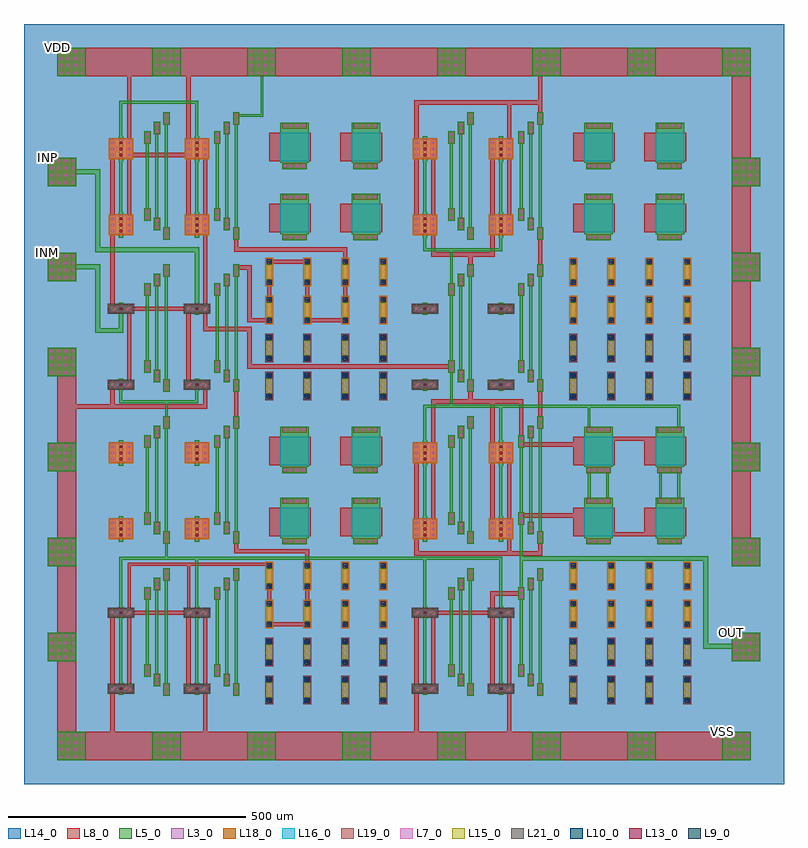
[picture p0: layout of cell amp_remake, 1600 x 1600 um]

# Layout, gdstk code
from math import pi, radians
import gdstk
lib = gdstk.Library(unit=1e-6, precision=1e-09)
def R(c, l, rs):  # rectangles x0, y0, x1, y1
    for r in rs: c.add(gdstk.rectangle(r[:2], r[2:], *l))
L3_0 = (3, 0)
L5_0 = (5, 0)
L7_0 = (7, 0)
L8_0 = (8, 0)
L9_0 = (9, 0)
L10_0 = (10, 0)
L13_0 = (13, 0)
L14_0 = (14, 0)
L15_0 = (15, 0)
L16_0 = (16, 0)
L18_0 = (18, 0)
L19_0 = (19, 0)
L21_0 = (21, 0)

c_16_5x5_flame = lib.new_cell('16_5x5_flame')
R(c_16_5x5_flame, L14_0, [(-800,-800,800,800), (-750,-750,750,750)])

dcont = lib.new_cell('dcont')
R(dcont, L3_0, [(-6.5,-6.5,6.5,6.5)])
R(dcont, L7_0, [(-2.5,-2.5,2.5,2.5)])
R(dcont, L8_0, [(-6.5,-6.5,6.5,6.5)])

pcont_min = lib.new_cell('pcont_min')
R(pcont_min, L5_0, [(-4.5,-6.5,4.5,6.5)])
R(pcont_min, L7_0, [(-2.5,-2.5,2.5,2.5)])
R(pcont_min, L8_0, [(-4.5,-6.5,4.5,6.5)])
R(pcont_min, L13_0, [(-2.5,-2.5,2.5,2.5)])

pch_1 = lib.new_cell('Pch$1')
R(pch_1, L3_0, [(0,17,48,57)])
R(pch_1, L18_0, [(-2,15,50,59)])
pch_1.add(gdstk.FlexPath([(6.5,17),(6.5,57)], 13, ends="flush", simple_path=True, layer=8, datatype=0))  # L8_0
pch_1.add(gdstk.FlexPath([(41.5,17),(41.5,57)], 13, ends="flush", simple_path=True, layer=8, datatype=0))  # L8_0
pch_1.add(gdstk.FlexPath([(24,17),(24,57)], 10, ends=(6.5, 6.5), simple_path=True, layer=5, datatype=0))  # L5_0
pch_1.add(gdstk.Reference(dcont, (6.5,24)))
pch_1.add(gdstk.Reference(dcont, (6.5,37)))
pch_1.add(gdstk.Reference(dcont, (6.5,50)))
pch_1.add(gdstk.Reference(dcont, (41.5,24)))
pch_1.add(gdstk.Reference(dcont, (41.5,37)))
pch_1.add(gdstk.Reference(dcont, (41.5,50)))
pch_1.add(gdstk.Reference(pcont_min, (24,24)))
pch_1.add(gdstk.Reference(pcont_min, (24,37)))
pch_1.add(gdstk.Reference(pcont_min, (24,50)))

tin_m1 = lib.new_cell('tin_M1')
R(tin_m1, L5_0, [(-7,-7,6,6)])
R(tin_m1, L7_0, [(-3,-3,2,2)])
R(tin_m1, L8_0, [(-7,-7,6,6)])

v_tin_line3 = lib.new_cell('V_tin_line3')
v_tin_line3.add(gdstk.FlexPath([(-20.5,74),(-20.5,-74)], 6, ends="extended", simple_path=True, layer=5, datatype=0))  # L5_0
v_tin_line3.add(gdstk.FlexPath([(-0.5,94),(-0.5,-94)], 6, ends="extended", simple_path=True, layer=5, datatype=0))  # L5_0
v_tin_line3.add(gdstk.FlexPath([(19.5,114),(19.5,-114)], 6, ends="extended", simple_path=True, layer=5, datatype=0))  # L5_0
r = gdstk.Reference(tin_m1, (-20.5,74), rotation=pi); r.repetition = gdstk.Repetition(2, 3, v1=(0,13), v2=(20,20)); v_tin_line3.add(r)
r = gdstk.Reference(tin_m1, (-20.5,-88), rotation=pi); r.repetition = gdstk.Repetition(2, 3, v1=(0,13), v2=(20,-20)); v_tin_line3.add(r)

pmos_array = lib.new_cell('pmos_array')
R(pmos_array, L14_0, [(-160,-160,160,160)])
r = gdstk.Reference(pch_1, (-140,-140)); r.repetition = gdstk.Repetition(2, 2, v1=(160,0), v2=(0,160)); pmos_array.add(r)
pmos_array.add(gdstk.Reference(v_tin_line3, (-40,0)))
pmos_array.add(gdstk.Reference(v_tin_line3, (107,0)))

nch_1 = lib.new_cell('Nch$1')
R(nch_1, L3_0, [(0,18.5,48,28.5)])
R(nch_1, L19_0, [(-2,15,50,32)])
R(nch_1, L21_0, [(-4,13,52,34)])
nch_1.add(gdstk.FlexPath([(6.5,17),(6.5,30)], 13, ends="flush", simple_path=True, layer=8, datatype=0))  # L8_0
nch_1.add(gdstk.FlexPath([(41.5,17),(41.5,30)], 13, ends="flush", simple_path=True, layer=8, datatype=0))  # L8_0
nch_1.add(gdstk.FlexPath([(24,17),(24,30)], 10, ends=(6.5, 6.5), simple_path=True, layer=5, datatype=0))  # L5_0
nch_1.add(gdstk.Reference(dcont, (6.5,23.5)))
nch_1.add(gdstk.Reference(dcont, (41.5,23.5)))
nch_1.add(gdstk.Reference(pcont_min, (24,23.5)))

nmos_array = lib.new_cell('nmos_array')
R(nmos_array, L14_0, [(-160,-160,160,160)])
r = gdstk.Reference(nch_1, (-140,-143)); r.repetition = gdstk.Repetition(2, 2, v1=(160,0), v2=(0,160)); nmos_array.add(r)
nmos_array.add(gdstk.Reference(v_tin_line3, (-40,0)))
nmos_array.add(gdstk.Reference(v_tin_line3, (107,0)))

via = lib.new_cell('Via')
R(via, L8_0, [(-6.5,-6.5,6.5,6.5)])
R(via, L9_0, [(-2.5,-2.5,2.5,2.5)])
R(via, L10_0, [(-5,-5,5,5)])
R(via, L13_0, [(-2.5,-2.5,2.5,2.5)])

r_ndiff = lib.new_cell('R_ndiff')
R(r_ndiff, L19_0, [(-2,-2,15,58)])
r_ndiff.add(gdstk.FlexPath([(6.5,0),(6.5,56)], 10, ends="flush", simple_path=True, layer=3, datatype=0))  # L3_0
r_ndiff.add(gdstk.FlexPath([(6.5,13),(6.5,43)], 10, ends="flush", simple_path=True, layer=15, datatype=0))  # L15_0
r_ndiff.add(gdstk.Reference(dcont, (6.5,6.5), rotation=pi/2))
r_ndiff.add(gdstk.Reference(via, (6.5,6.5)))
r_ndiff.add(gdstk.Reference(dcont, (6.5,49.5), rotation=pi/2))
r_ndiff.add(gdstk.Reference(via, (6.5,49.5)))

r_pdiff_1 = lib.new_cell('R_pdiff$1')
R(r_pdiff_1, L18_0, [(-2,-2,15,58)])
r_pdiff_1.add(gdstk.FlexPath([(6.5,0),(6.5,56)], 10, ends="flush", simple_path=True, layer=3, datatype=0))  # L3_0
r_pdiff_1.add(gdstk.FlexPath([(6.5,13),(6.5,43)], 10, ends="flush", simple_path=True, layer=15, datatype=0))  # L15_0
r_pdiff_1.add(gdstk.Reference(dcont, (6.5,6.5), rotation=pi/2))
r_pdiff_1.add(gdstk.Reference(via, (6.5,6.5)))
r_pdiff_1.add(gdstk.Reference(dcont, (6.5,49.5), rotation=pi/2))
r_pdiff_1.add(gdstk.Reference(via, (6.5,49.5)))

resistor_array = lib.new_cell('resistor_array')
R(resistor_array, L14_0, [(-160,-160,160,160)])
r = gdstk.Reference(r_ndiff, (-130,-150)); r.repetition = gdstk.Repetition(4, 2, v1=(80,0), v2=(0,80)); resistor_array.add(r)
r = gdstk.Reference(r_pdiff_1, (-130,10)); r.repetition = gdstk.Repetition(4, 2, v1=(80,0), v2=(0,80)); resistor_array.add(r)

tin_cap = lib.new_cell('TIN_cap')
R(tin_cap, L5_0, [(23.5,-4,83.5,81)])
R(tin_cap, L8_0, [(0,0,87.5,60)])
R(tin_cap, L16_0, [(23.5,0,83.5,60)])

cap_con = lib.new_cell('cap_con')
cap_con.add(gdstk.Reference(tin_cap, (-43.75,-38.5)))
r = gdstk.Reference(tin_m1, (28.25,35.5), rotation=pi); r.repetition = gdstk.Repetition(4, 1, v1=(-13,0), v2=(0,0)); cap_con.add(r)
r = gdstk.Reference(tin_m1, (28.25,-49.5), rotation=pi); r.repetition = gdstk.Repetition(4, 1, v1=(-13,0), v2=(0,0)); cap_con.add(r)

tin_m1_cap_array = lib.new_cell('tin_m1_cap_array')
R(tin_m1_cap_array, L14_0, [(-160,-160,160,160)])
r = gdstk.Reference(cap_con, (-80,-80)); r.repetition = gdstk.Repetition(2, 2, v1=(150,0), v2=(0,150)); tin_m1_cap_array.add(r)

base_array = lib.new_cell('base_array')
base_array.add(gdstk.Reference(pmos_array, (-160,160)))
base_array.add(gdstk.Reference(nmos_array, (-160,-160)))
base_array.add(gdstk.Reference(resistor_array, (160,-160)))
base_array.add(gdstk.Reference(tin_m1_cap_array, (160,160)))

pad_60_m1_tin = lib.new_cell('pad_60_m1_tin')
R(pad_60_m1_tin, L5_0, [(-30,-30,30,30), (-30,-30,30,30)])
R(pad_60_m1_tin, L8_0, [(-30,-30,30,30)])
r = gdstk.Reference(tin_m1, (22,-23), rotation=pi/2); r.repetition = gdstk.Repetition(4, 4, v1=(0,15), v2=(-15,0)); pad_60_m1_tin.add(r)

base_rev0_93 = lib.new_cell('base_Rev0.93')
base_rev0_93.add(gdstk.Reference(c_16_5x5_flame, (0,0)))
r = gdstk.Reference(base_array, (-320,-320)); r.repetition = gdstk.Repetition(2, 2, v1=(640,0), v2=(0,640)); base_rev0_93.add(r)
r = gdstk.Reference(pad_60_m1_tin, (700,720), rotation=pi/2); r.repetition = gdstk.Repetition(1, 8, v1=(0,0), v2=(-200,0)); base_rev0_93.add(r)
r = gdstk.Reference(pad_60_m1_tin, (700,-720), rotation=pi/2); r.repetition = gdstk.Repetition(1, 8, v1=(0,0), v2=(-200,0)); base_rev0_93.add(r)
r = gdstk.Reference(pad_60_m1_tin, (-720,488), rotation=pi); r.repetition = gdstk.Repetition(1, 6, v1=(0,0), v2=(0,-200)); base_rev0_93.add(r)
r = gdstk.Reference(pad_60_m1_tin, (720,488), rotation=pi); r.repetition = gdstk.Repetition(1, 6, v1=(0,0), v2=(0,-200)); base_rev0_93.add(r)
base_rev0_93.add(gdstk.Label('pin01', (-699,-719.5), layer=8, texttype=0))
base_rev0_93.add(gdstk.Label('pin02', (-499,-720), layer=8, texttype=0))
base_rev0_93.add(gdstk.Label('pin03', (-299,-720), layer=8, texttype=0))
base_rev0_93.add(gdstk.Label('pin04', (-99,-720), layer=8, texttype=0))
base_rev0_93.add(gdstk.Label('pin05', (101,-720), layer=8, texttype=0))
base_rev0_93.add(gdstk.Label('pin06', (301,-719.5), layer=8, texttype=0))
base_rev0_93.add(gdstk.Label('pin07', (501,-720), layer=8, texttype=0))
base_rev0_93.add(gdstk.Label('pin08', (701,-719.5), layer=8, texttype=0))
base_rev0_93.add(gdstk.Label('pin09', (720.5,-511), layer=8, texttype=0))
base_rev0_93.add(gdstk.Label('pin10', (720,-311), layer=8, texttype=0))
base_rev0_93.add(gdstk.Label('pin11', (720,-111), layer=8, texttype=0))
base_rev0_93.add(gdstk.Label('pin12', (720,89), layer=8, texttype=0))
base_rev0_93.add(gdstk.Label('pin13', (720,289), layer=8, texttype=0))
base_rev0_93.add(gdstk.Label('pin14', (720,489), layer=8, texttype=0))
base_rev0_93.add(gdstk.Label('pin15', (701,720), layer=8, texttype=0))
base_rev0_93.add(gdstk.Label('pin16', (501,720), layer=8, texttype=0))
base_rev0_93.add(gdstk.Label('pin17', (301,720), layer=8, texttype=0))
base_rev0_93.add(gdstk.Label('pin18', (101,720), layer=8, texttype=0))
base_rev0_93.add(gdstk.Label('pin19', (-99,720), layer=8, texttype=0))
base_rev0_93.add(gdstk.Label('pin20', (-299,720), layer=8, texttype=0))
base_rev0_93.add(gdstk.Label('pin21', (-499,720), layer=8, texttype=0))
base_rev0_93.add(gdstk.Label('pin22', (-699,720), layer=8, texttype=0))
base_rev0_93.add(gdstk.Label('pin23', (-720,489), layer=8, texttype=0))
base_rev0_93.add(gdstk.Label('pin24', (-720,289), layer=8, texttype=0))
base_rev0_93.add(gdstk.Label('pin25', (-720,89), layer=8, texttype=0))
base_rev0_93.add(gdstk.Label('pin26', (-720,-111), layer=8, texttype=0))
base_rev0_93.add(gdstk.Label('pin27', (-720,-311), layer=8, texttype=0))
base_rev0_93.add(gdstk.Label('pin28', (-720,-511), layer=8, texttype=0))

amp_remake = lib.new_cell('amp_remake')
amp_remake.add(gdstk.FlexPath([(61.5,110),(61.5,205),(186.5,205),(186.5,110)], 9, ends="flush", simple_path=True, layer=8, datatype=0))  # L8_0
amp_remake.add(gdstk.FlexPath([(140,232.5),(140,205)], 9, ends="flush", simple_path=True, layer=8, datatype=0))  # L8_0
amp_remake.add(gdstk.FlexPath([(247,127.5),(247,205),(186.5,205)], 9, ends="flush", simple_path=True, layer=8, datatype=0))  # L8_0
amp_remake.add(gdstk.FlexPath([(247,114.5),(356.5,114.5)], 9, ends="flush", simple_path=True, layer=8, datatype=0))  # L8_0
amp_remake.add(gdstk.FlexPath([(443.5,127),(506.5,127)], 9, ends="flush", simple_path=True, layer=8, datatype=0))  # L8_0
amp_remake.add(gdstk.FlexPath([(443.5,-74),(506.5,-74)], 9, ends="flush", simple_path=True, layer=8, datatype=0))  # L8_0
amp_remake.add(gdstk.FlexPath([(287,552.5),(287,487.5)], 9, ends="flush", simple_path=True, layer=8, datatype=0))  # L8_0
amp_remake.add(gdstk.FlexPath([(247,-34.5),(356.5,-34.5)], 9, ends="flush", simple_path=True, layer=8, datatype=0))  # L8_0
amp_remake.add(gdstk.FlexPath([(287,232.5),(287,167.5)], 9, ends="flush", simple_path=True, layer=8, datatype=0))  # L8_0
amp_remake.add(gdstk.FlexPath([(-714,920),(701,920)], 60, ends="flush", simple_path=True, layer=8, datatype=0))  # L8_0
amp_remake.add(gdstk.FlexPath([(-699,-520),(701,-520)], 60, ends="flush", simple_path=True, layer=8, datatype=0))  # L8_0
amp_remake.add(gdstk.FlexPath([(-710,-520),(-710,289)], 40, ends="flush", simple_path=True, layer=8, datatype=0))  # L8_0
amp_remake.add(gdstk.FlexPath([(-578.5,590),(-578.5,920)], 9, ends="flush", simple_path=True, layer=8, datatype=0))  # L8_0
amp_remake.add(gdstk.FlexPath([(-453.5,590),(-453.5,920)], 9, ends="flush", simple_path=True, layer=8, datatype=0))  # L8_0
amp_remake.add(gdstk.FlexPath([(-578.5,724),(-453.5,724)], 9, ends="flush", simple_path=True, layer=8, datatype=0))  # L8_0
amp_remake.add(gdstk.FlexPath([(-613.5,724),(-613.5,400.5)], 9, ends="flush", simple_path=True, layer=8, datatype=0))  # L8_0
amp_remake.add(gdstk.FlexPath([(-418.5,400.5),(-418.5,724)], 9, ends="flush", simple_path=True, layer=8, datatype=0))  # L8_0
amp_remake.add(gdstk.FlexPath([(26.5,724),(26.5,590)], 9, ends="flush", simple_path=True, layer=8, datatype=0))  # L8_0
amp_remake.add(gdstk.FlexPath([(61.5,590),(61.5,724)], 9, ends="flush", simple_path=True, layer=8, datatype=0))  # L8_0
amp_remake.add(gdstk.FlexPath([(186.5,724),(186.5,590)], 9, ends="flush", simple_path=True, layer=8, datatype=0))  # L8_0
amp_remake.add(gdstk.FlexPath([(221.5,590),(221.5,724)], 9, ends="flush", simple_path=True, layer=8, datatype=0))  # L8_0
amp_remake.add(gdstk.FlexPath([(61.5,564),(61.5,515),(186.5,515),(186.5,564)], 9, ends="flush", simple_path=True, layer=8, datatype=0))  # L8_0
amp_remake.add(gdstk.FlexPath([(26.5,84),(26.5,-50)], 9, ends="flush", simple_path=True, layer=8, datatype=0))  # L8_0
amp_remake.add(gdstk.FlexPath([(61.5,-50),(61.5,84)], 9, ends="flush", simple_path=True, layer=8, datatype=0))  # L8_0
amp_remake.add(gdstk.FlexPath([(186.5,84),(186.5,-50)], 9, ends="flush", simple_path=True, layer=8, datatype=0))  # L8_0
amp_remake.add(gdstk.FlexPath([(221.5,-50),(221.5,84)], 9, ends="flush", simple_path=True, layer=8, datatype=0))  # L8_0
amp_remake.add(gdstk.FlexPath([(140,487.5),(140,515)], 9, ends="flush", simple_path=True, layer=8, datatype=0))  # L8_0
amp_remake.add(gdstk.FlexPath([(26.5,-399.5),(26.5,-239.5)], 9, ends="flush", simple_path=True, layer=8, datatype=0))  # L8_0
amp_remake.add(gdstk.FlexPath([(61.5,-239.5),(61.5,-399.5)], 9, ends="flush", simple_path=True, layer=8, datatype=0))  # L8_0
amp_remake.add(gdstk.FlexPath([(186.5,-399.5),(186.5,-239.5)], 9, ends="flush", simple_path=True, layer=8, datatype=0))  # L8_0
amp_remake.add(gdstk.FlexPath([(221.5,-239.5),(221.5,-399.5)], 9, ends="flush", simple_path=True, layer=8, datatype=0))  # L8_0
amp_remake.add(gdstk.FlexPath([(61.5,-239.5),(186.5,-239.5)], 9, ends="flush", simple_path=True, layer=8, datatype=0))  # L8_0
amp_remake.add(gdstk.FlexPath([(26.5,-399.5),(26.5,-520)], 9, ends="flush", simple_path=True, layer=8, datatype=0))  # L8_0
amp_remake.add(gdstk.FlexPath([(221.5,-399.5),(221.5,-520)], 9, ends="flush", simple_path=True, layer=8, datatype=0))  # L8_0
amp_remake.add(gdstk.FlexPath([(-613.5,-399.5),(-613.5,-520)], 9, ends="flush", simple_path=True, layer=8, datatype=0))  # L8_0
amp_remake.add(gdstk.FlexPath([(-418.5,-399.5),(-418.5,-520)], 9, ends="flush", simple_path=True, layer=8, datatype=0))  # L8_0
amp_remake.add(gdstk.FlexPath([(-613.5,-399.5),(-613.5,-239.5)], 9, ends="flush", simple_path=True, layer=8, datatype=0))  # L8_0
amp_remake.add(gdstk.FlexPath([(-578.5,-239.5),(-578.5,-399.5)], 9, ends="flush", simple_path=True, layer=8, datatype=0))  # L8_0
amp_remake.add(gdstk.FlexPath([(-453.5,-399.5),(-453.5,-239.5)], 9, ends="flush", simple_path=True, layer=8, datatype=0))  # L8_0
amp_remake.add(gdstk.FlexPath([(-418.5,-239.5),(-418.5,-399.5)], 9, ends="flush", simple_path=True, layer=8, datatype=0))  # L8_0
amp_remake.add(gdstk.FlexPath([(-578.5,-239.5),(-453.5,-239.5)], 9, ends="flush", simple_path=True, layer=8, datatype=0))  # L8_0
amp_remake.add(gdstk.FlexPath([(-418.5,400.5),(-418.5,358),(-325.5,358),(-325.5,279),(100,279)], 9, ends="flush", simple_path=True, layer=8, datatype=0))  # L8_0
amp_remake.add(gdstk.FlexPath([(-353,552.5),(-353,525),(-123.5,525),(-123.5,499.5)], 9, ends="flush", simple_path=True, layer=8, datatype=0))  # L8_0
amp_remake.add(gdstk.FlexPath([(-283.5,456.5),(-283.5,419.5)], 9, ends="flush", simple_path=True, layer=8, datatype=0))  # L8_0
amp_remake.add(gdstk.FlexPath([(-203.5,376.5),(-123.5,376.5)], 9, ends="flush", simple_path=True, layer=8, datatype=0))  # L8_0
amp_remake.add(gdstk.FlexPath([(-203.5,499.5),(-283.5,499.5)], 9, ends="flush", simple_path=True, layer=8, datatype=0))  # L8_0
amp_remake.add(gdstk.FlexPath([(-283.5,376.5),(-325,376.5),(-325,487.5),(-353,487.5)], 9, ends="flush", simple_path=True, layer=8, datatype=0))  # L8_0
amp_remake.add(gdstk.FlexPath([(-353,232.5),(-353,167.5)], 9, ends="flush", simple_path=True, layer=8, datatype=0))  # L8_0
amp_remake.add(gdstk.FlexPath([(-203.5,456.5),(-203.5,419.5)], 9, ends="flush", simple_path=True, layer=8, datatype=0))  # L8_0
amp_remake.add(gdstk.FlexPath([(-353,-87.5),(-353,-110),(-203.5,-110),(-203.5,-141)], 9, ends="flush", simple_path=True, layer=8, datatype=0))  # L8_0
amp_remake.add(gdstk.FlexPath([(-203.5,-183.5),(-203.5,-220.5)], 9, ends="flush", simple_path=True, layer=8, datatype=0))  # L8_0
amp_remake.add(gdstk.FlexPath([(-123.5,456.5),(-123.5,419.5)], 9, ends="flush", simple_path=True, layer=8, datatype=0))  # L8_0
amp_remake.add(gdstk.FlexPath([(-203.5,-263.5),(-283.5,-263.5)], 9, ends="flush", simple_path=True, layer=8, datatype=0))  # L8_0
amp_remake.add(gdstk.FlexPath([(-283.5,-220.5),(-283.5,-183.5)], 9, ends="flush", simple_path=True, layer=8, datatype=0))  # L8_0
amp_remake.add(gdstk.FlexPath([(-283.5,-137),(-578.5,-137),(-578.5,-239.5)], 6, ends="flush", simple_path=True, layer=8, datatype=0))  # L8_0
amp_remake.add(gdstk.FlexPath([(-453.5,-239.5),(-453.5,-137)], 6, ends="flush", simple_path=True, layer=8, datatype=0))  # L8_0
amp_remake.add(gdstk.FlexPath([(26.5,750),(26.5,835),(221.5,835),(221.5,750)], 9, ends="flush", simple_path=True, layer=8, datatype=0))  # L8_0
amp_remake.add(gdstk.FlexPath([(26.5,-76),(26.5,-115),(221.5,-115),(221.5,-76)], 9, ends="flush", simple_path=True, layer=8, datatype=0))  # L8_0
amp_remake.add(gdstk.FlexPath([(287,807.5),(287,920)], 9, ends="flush", simple_path=True, layer=8, datatype=0))  # L8_0
amp_remake.add(gdstk.FlexPath([(221.5,835),(287,835)], 9, ends="flush", simple_path=True, layer=8, datatype=0))  # L8_0
amp_remake.add(gdstk.FlexPath([(287,-87.5),(287,-115),(221.5,-115)], 9, ends="flush", simple_path=True, layer=8, datatype=0))  # L8_0
amp_remake.add(gdstk.FlexPath([(247,-199),(186.5,-199),(186.5,-239.5)], 9, ends="flush", simple_path=True, layer=8, datatype=0))  # L8_0
amp_remake.add(gdstk.FlexPath([(-613.5,240.5),(-613.5,195),(-418.5,195),(-418.5,240.5)], 9, ends="flush", simple_path=True, layer=8, datatype=0))  # L8_0
amp_remake.add(gdstk.FlexPath([(-613.5,195),(-710,195)], 9, ends="flush", simple_path=True, layer=8, datatype=0))  # L8_0
amp_remake.add(gdstk.FlexPath([(-578.5,400.5),(-453.5,400.5)], 9, ends="flush", simple_path=True, layer=8, datatype=0))  # L8_0
amp_remake.add(gdstk.FlexPath([(-578.5,240.5),(-578.5,400.5)], 9, ends="flush", simple_path=True, layer=8, datatype=0))  # L8_0
amp_remake.add(gdstk.FlexPath([(-453.5,400.5),(-453.5,240.5)], 9, ends="flush", simple_path=True, layer=8, datatype=0))  # L8_0
amp_remake.add(gdstk.FlexPath([(-596,-399.5),(-578.5,-399.5)], 9, ends="flush", simple_path=True, layer=8, datatype=0))  # L8_0
amp_remake.add(gdstk.FlexPath([(-596,-239.5),(-578.5,-239.5)], 9, ends="flush", simple_path=True, layer=8, datatype=0))  # L8_0
amp_remake.add(gdstk.FlexPath([(-453.5,-239.5),(-436,-239.5)], 9, ends="flush", simple_path=True, layer=8, datatype=0))  # L8_0
amp_remake.add(gdstk.FlexPath([(-453.5,-399.5),(-436,-399.5)], 9, ends="flush", simple_path=True, layer=8, datatype=0))  # L8_0
amp_remake.add(gdstk.FlexPath([(710,-111),(710,920)], 40, ends="flush", simple_path=True, layer=8, datatype=0))  # L8_0
amp_remake.add(gdstk.FlexPath([(-613.5,737),(-596,737)], 9, ends="flush", simple_path=True, layer=8, datatype=0))  # L8_0
amp_remake.add(gdstk.FlexPath([(390,61),(390,-4)], 6, ends="flush", simple_path=True, layer=5, datatype=0))  # L5_0
amp_remake.add(gdstk.FlexPath([(428.5,61),(428.5,-4)], 6, ends="flush", simple_path=True, layer=5, datatype=0))  # L5_0
amp_remake.add(gdstk.FlexPath([(540,61),(540,-4)], 6, ends="flush", simple_path=True, layer=5, datatype=0))  # L5_0
amp_remake.add(gdstk.FlexPath([(578.5,61),(578.5,-4)], 6, ends="flush", simple_path=True, layer=5, datatype=0))  # L5_0
amp_remake.add(gdstk.FlexPath([(44,110),(44,195),(204,195),(204,110)], 6, ends="flush", simple_path=True, layer=5, datatype=0))  # L5_0
amp_remake.add(gdstk.FlexPath([(204,195),(578.5,195),(578.5,146)], 6, ends="flush", simple_path=True, layer=5, datatype=0))  # L5_0
amp_remake.add(gdstk.FlexPath([(389.5,146),(389.5,195)], 6, ends="flush", simple_path=True, layer=5, datatype=0))  # L5_0
amp_remake.add(gdstk.FlexPath([(100,272.5),(100,195)], 6, ends="flush", simple_path=True, layer=5, datatype=0))  # L5_0
amp_remake.add(gdstk.FlexPath([(-596,590),(-596,724)], 6, ends="flush", simple_path=True, layer=5, datatype=0))  # L5_0
amp_remake.add(gdstk.FlexPath([(-436,590),(-436,724)], 6, ends="flush", simple_path=True, layer=5, datatype=0))  # L5_0
amp_remake.add(gdstk.FlexPath([(-596,750),(-596,835),(-436,835),(-436,750)], 6, ends="flush", simple_path=True, layer=5, datatype=0))  # L5_0
amp_remake.add(gdstk.FlexPath([(-596,-399.5),(-596,-239.5)], 6, ends="flush", simple_path=True, layer=5, datatype=0))  # L5_0
amp_remake.add(gdstk.FlexPath([(-436,-239.5),(-436,-399.5)], 6, ends="flush", simple_path=True, layer=5, datatype=0))  # L5_0
amp_remake.add(gdstk.FlexPath([(44,-399.5),(44,-239)], 6, ends="flush", simple_path=True, layer=5, datatype=0))  # L5_0
amp_remake.add(gdstk.FlexPath([(204,-239.5),(204,-399.5)], 6, ends="flush", simple_path=True, layer=5, datatype=0))  # L5_0
amp_remake.add(gdstk.FlexPath([(44,-50),(44,84)], 6, ends="flush", simple_path=True, layer=5, datatype=0))  # L5_0
amp_remake.add(gdstk.FlexPath([(204,84),(204,-50)], 6, ends="flush", simple_path=True, layer=5, datatype=0))  # L5_0
amp_remake.add(gdstk.FlexPath([(44,724),(44,590)], 6, ends="flush", simple_path=True, layer=5, datatype=0))  # L5_0
amp_remake.add(gdstk.FlexPath([(204,590),(204,724)], 6, ends="flush", simple_path=True, layer=5, datatype=0))  # L5_0
amp_remake.add(gdstk.FlexPath([(-596,240.5),(-596,205),(-436,205),(-436,240.5)], 6, ends="flush", simple_path=True, layer=5, datatype=0))  # L5_0
amp_remake.add(gdstk.FlexPath([(-500,167.5),(-500,205)], 6, ends="flush", simple_path=True, layer=5, datatype=0))  # L5_0
amp_remake.add(gdstk.FlexPath([(-500,-87.5),(-500,-125),(-436,-125),(-436,-239.5)], 6, ends="flush", simple_path=True, layer=5, datatype=0))  # L5_0
amp_remake.add(gdstk.FlexPath([(-596,-239.5),(-596,-125),(-500,-125)], 6, ends="flush", simple_path=True, layer=5, datatype=0))  # L5_0
amp_remake.add(gdstk.FlexPath([(-436,-125),(204,-125),(204,-239.5)], 6, ends="flush", simple_path=True, layer=5, datatype=0))  # L5_0
amp_remake.add(gdstk.FlexPath([(44,-239),(44,-125)], 6, ends="flush", simple_path=True, layer=5, datatype=0))  # L5_0
amp_remake.add(gdstk.FlexPath([(44,564),(44,525),(204,525),(204,564)], 6, ends="flush", simple_path=True, layer=5, datatype=0))  # L5_0
amp_remake.add(gdstk.FlexPath([(-299,920),(-299,807.5),(-353,807.5)], 6, ends="flush", simple_path=True, layer=5, datatype=0))  # L5_0
amp_remake.add(gdstk.FlexPath([(100,447.5),(100,525)], 6, ends="flush", simple_path=True, layer=5, datatype=0))  # L5_0
amp_remake.add(gdstk.FlexPath([(247,-47.5),(247,-192.5)], 6, ends="flush", simple_path=True, layer=5, datatype=0))  # L5_0
amp_remake.add(gdstk.FlexPath([(247,-125),(635,-125),(635,-310),(720,-310)], 10, ends="flush", simple_path=True, layer=5, datatype=0))  # L5_0
amp_remake.add(gdstk.FlexPath([(-436,400.5),(-436,525),(-645,525),(-645,689),(-720,689)], 10, ends="flush", simple_path=True, layer=5, datatype=0))  # L5_0
amp_remake.add(gdstk.FlexPath([(-596,400.5),(-596,355),(-645,355),(-645,489),(-720,489)], 10, ends="flush", simple_path=True, layer=5, datatype=0))  # L5_0
amp_remake.add(gdstk.Reference(base_rev0_93, (0,200)))
amp_remake.add(gdstk.Label('VDD', (-730,950), layer=8, texttype=0))
amp_remake.add(gdstk.Label('INP', (-750,718), layer=8, texttype=0))
amp_remake.add(gdstk.Label('INM', (-750,518), layer=8, texttype=0))
amp_remake.add(gdstk.Label('OUT', (690,-282), layer=8, texttype=0))
amp_remake.add(gdstk.Label('VSS', (670,-490), layer=8, texttype=0))

lib.write_gds('amp_remake.gds')
